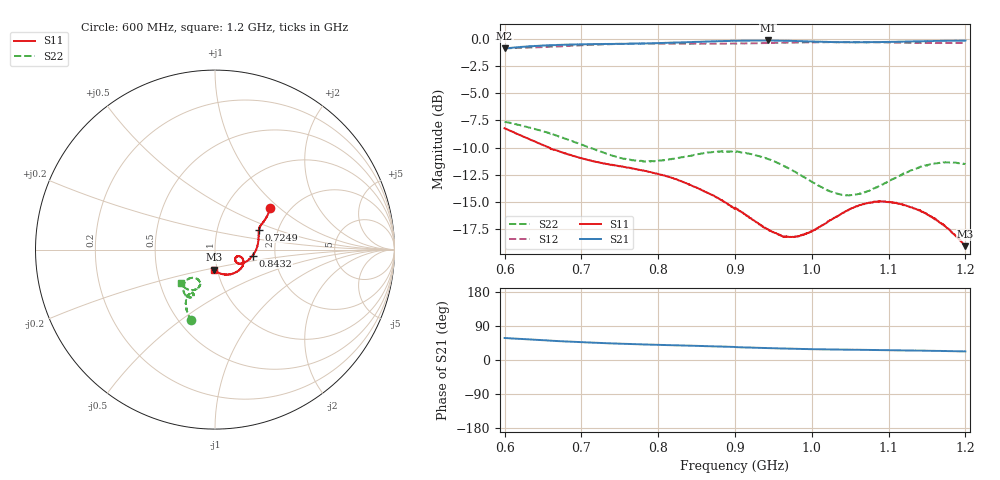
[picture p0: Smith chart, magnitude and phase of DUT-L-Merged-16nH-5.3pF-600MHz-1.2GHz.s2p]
!Stim Real(S11) Imag(S11) Real(S21) Imag(S21) Real(S12) Imag(S12) Real(S22) Imag(S22)
# HZ S RI R 50
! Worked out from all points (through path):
!   1010 points, 600 MHz to 1.2 GHz, reference 50 ohm
!   highest |S21| = -0.15 dB at 943.1 MHz (marker M1); lowest = -0.9 dB at 600 MHz (marker M2)
!   lowest |S11| = -19.1 dB at 1.2 GHz (marker M3), VSWR 1.25, Z = 48.2 - j10.9 ohm
!   |S11| at or under -10 dB: 658 MHz to end of sweep
!   |S22| runs from -14.4 to -7.6 dB; largest |S21 - S12| = 0.052
!   S11 on the Smith chart (normalised r, x): 600 MHz: 1.60, +0.88; 724.9 MHz: 1.59, +0.38; 843.2 MHz: 1.53, -0.11; 1.2 GHz: 0.96, -0.22
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6e8  0.3089 0.2345  0.478 0.7656  0.5211 0.7392  -0.1347 -0.3933
6.612487e8  0.2701 0.1546  0.5914 0.7236  0.5992 0.6968  -0.1594 -0.3306
7.004955e8  0.2522 0.1291  0.6432 0.6909  0.6455 0.675  -0.162 -0.2834
7.248761e8  0.2453 0.1112  0.6713 0.6668  0.6755 0.6556  -0.1537 -0.2614
7.635282e8  0.2437 0.0759  0.7037 0.6386  0.7151 0.6232  -0.1344 -0.2436
8.003964e8  0.2373 0.0267  0.7325 0.6141  0.7475 0.5858  -0.1206 -0.2484
8.43211e8  0.2094 -0.0332  0.7654 0.5889  0.7693 0.5547  -0.1265 -0.2616
8.723488e8  0.1795 -0.0641  0.7874 0.5731  0.7838 0.5359  -0.1434 -0.2663
9.002972e8  0.1474 -0.08  0.8102 0.548  0.7943 0.5227  -0.1624 -0.2572
9.431119e8  0.1157 -0.0659  0.8385 0.5123  0.8132 0.5046  -0.1775 -0.2171
9.609513e8  0.1115 -0.0545  0.8441 0.4971  0.8199 0.4959  -0.1749 -0.1969
9.710604e8  0.1131 -0.0479  0.8472 0.4881  0.8249 0.4902  -0.1709 -0.1861
9.823587e8  0.1161 -0.0422  0.8506 0.4778  0.8306 0.4833  -0.164 -0.1758
1.000198e9  0.1253 -0.037  0.8545 0.4629  0.8379 0.4753  -0.148 -0.1634
1.025768e9  0.1424 -0.0404  0.8549 0.4502  0.8493 0.4578  -0.1209 -0.1572
1.047175e9  0.1543 -0.052  0.8585 0.441  0.8563 0.4475  -0.1004 -0.1624
1.07334e9  0.1578 -0.0778  0.8629 0.4297  0.8632 0.4298  -0.0842 -0.1814
1.100099e9  0.1425 -0.1069  0.8704 0.4232  0.8674 0.4156  -0.0867 -0.2041
1.121506e9  0.116 -0.1268  0.8769 0.4167  0.8687 0.4064  -0.1031 -0.2194
1.147076e9  0.0757 -0.1393  0.8861 0.4069  0.871 0.3963  -0.1305 -0.2266
1.173835e9  0.0315 -0.1338  0.8971 0.3939  0.8745 0.3881  -0.1637 -0.2152
1.2e9  -0.00553 -0.1114  0.906 0.3765  0.8778 0.3813  -0.1902 -0.1851
